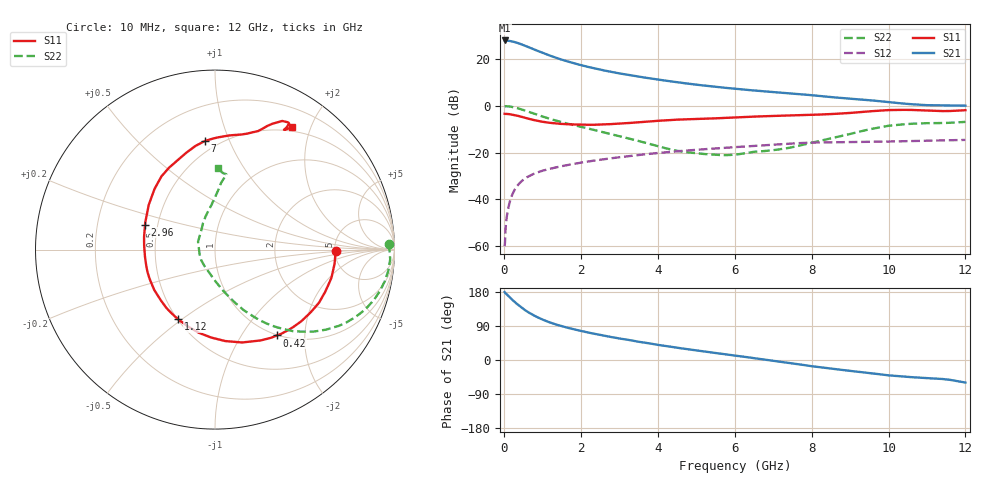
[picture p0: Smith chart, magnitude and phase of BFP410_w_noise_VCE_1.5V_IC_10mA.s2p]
! Infineon Technologies  Discrete & RF Semiconductors
! BFP410
! VCE =  1.5 V,  IC =  10 mA
! Common Emitter S-Parameters:  Nov 2015
# GHz  S  MA  R  50
!  f  S11  S21  S12  S22
! GHz  MAG  ANG  MAG  ANG  MAG  ANG  MAG  ANG
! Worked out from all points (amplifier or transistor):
!   243 points, 10 MHz to 12 GHz, reference 50 ohm
!   highest |S21| = 27.9 dB at 20 MHz (marker M1)
!   |S21| within 3 dB of that: start of sweep to 653.4 MHz
!   unconditionally stable (mu >= 1): 2.363 GHz to end of sweep
!   at 240 MHz: K = 0.17, MSG = 32.1 dB, |S12| = -36.9 dB
!   at 1.84 GHz: K = 0.86, MSG = 21.4 dB, |S12| = -24.8 dB
!   at 12 GHz: K = 1.03, MAG = 6.2 dB, |S12| = -14.6 dB
!   lowest NFmin = 1.28 dB at 900 MHz
!   S11 on the Smith chart (normalised r, x): 10 MHz: 5.13, -0.11; 420 MHz: 0.99, -1.46; 1.12 GHz: 0.50, -0.48; 2.96 GHz: 0.42, +0.14; 7 GHz: 0.43, +0.82; 12 GHz: 0.45, +1.72
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0.01  0.6741 -0.5  24.7 179.4  0.001 103.1  0.9683 1.9
0.02  0.671 -2.7  24.86 177.7  0.0012 97.5  0.9731 -0.7
0.1  0.6676 -13.6  24.56 169.8  0.0061 84.2  0.9729 -6.9
0.155  0.6572 -21.1  24.14 164.2  0.0095 80.6  0.9606 -10.9
0.24  0.6395 -32.1  23.28 156.1  0.0143 75.9  0.933 -16.7
0.32  0.6187 -42.1  22.36 148.9  0.0185 71.8  0.899 -21.8
0.42  0.5901 -54.1  20.96 140.7  0.0231 67.4  0.8511 -27.4
0.5  0.5665 -63.3  19.82 134.5  0.0265 64.3  0.8108 -31.6
0.6  0.5389 -73.8  18.35 127.5  0.03 61.1  0.7603 -36.0
0.8  0.4905 -92.5  15.7 116.0  0.036 56.3  0.668 -43.2
1  0.4546 -109.1  13.49 106.5  0.041 52.8  0.588 -49.0
1.12  0.4395 -117.9  12.38 101.8  0.0436 51.4  0.5478 -51.8
1.3  0.4232 -129.7  10.95 95.3  0.0473 49.5  0.4945 -55.6
1.52  0.4082 -142.1  9.535 88.7  0.0517 48.0  0.4414 -59.3
2.02  0.394 -165.7  7.303 76.2  0.0613 45.0  0.3518 -66.1
2.96  0.4142 160.3  4.979 57.5  0.0788 39.2  0.2273 -79.6
4.1  0.4819 133.1  3.533 38.5  0.0997 31.3  0.1299 -105.3
6.1  0.5671 105.4  2.271 10.4  0.1321 16.2  0.0923 170.2
7  0.6076 95.4  1.964 -2.0  0.1478 8.9  0.1125 140.7
8.2  0.6489 79.9  1.62 -18.9  0.1642 -4.0  0.1768 109.7
10.2  0.8131 61.2  1.154 -42.1  0.1734 -19.5  0.3879 83.7
12  0.8033 57.9  1.005 -59.5  0.1864 -34.0  0.4523 87.6
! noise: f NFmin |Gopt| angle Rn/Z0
0.45  1.31  0.05  -19  0.16
0.9  1.28  0.04  1  0.16
1.8  1.42  0.03  -159  0.16
2.4  1.4  0.09  -121  0.17
5.5  2.27  0.35  -113  0.27
10  3.42  0.67  -49  1.87
